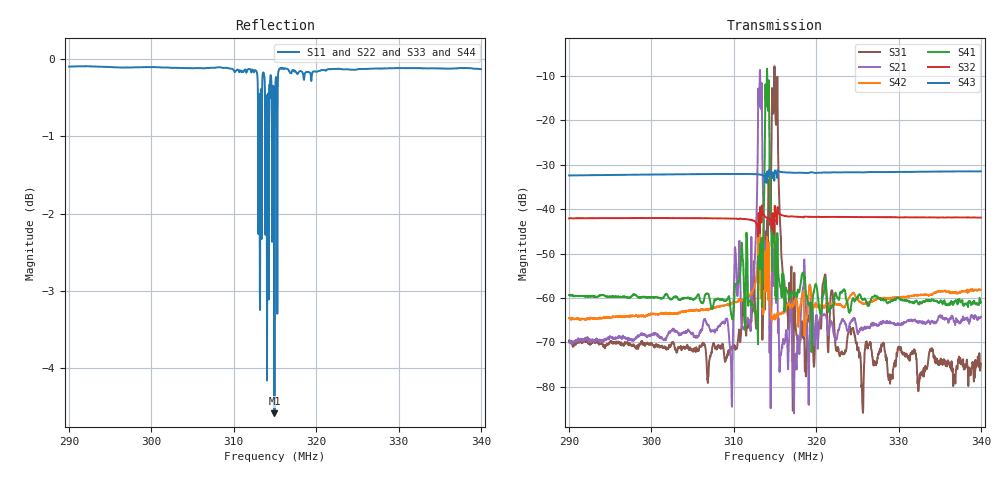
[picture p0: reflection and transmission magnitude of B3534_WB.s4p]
! Matrix data file written by TouchstoneData, EPCOS AG
! FILENAME: "newformat_LZ06B_MB.s4p"
! COMMENT: "(LZ06B_MB.s4p) Epcos AG 31.01.2012 10:37:25"
! INFO: nport=4, nfreq=1601
! DATE: "Tue Jan 31 15:10:04 2012"
! USER: "Wilfried Schott"
! port | pin | signal
!  1  |  1  |  IN
!  2  |  5  |  OUT CH2
!  3  |  6  |  OUT CH1
!  4  |  7  |  OUT CH3
# MHZ S MA R 50
! freq  magS11 angS11  magS12 angS12  magS13 angS13  magS14 angS14  ...
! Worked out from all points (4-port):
!   1601 points, 290 MHz to 340 MHz, reference 50 ohm
!   strongest paths, dB at 290 MHz, 302.5 MHz, 315 MHz, 327.5 MHz, 340 MHz:
!     S43: -32.4, -32.1, -31.3, -31.6, -31.5
!     S32: -42.1, -42.0, -39.7, -41.8, -41.9
!     S41: -59.3, -60.2, -51.7, -60.1, -61.0
!     S42: -64.5, -63.6, -64.9, -60.2, -58.2
!     S21: -70.1, -67.2, -54.0, -66.1, -64.3
!     S31: -69.9, -70.3, -14.7, -72.6, -74.8
!   lowest |S11| = -4.6 dB at 314.9 MHz (marker M1), VSWR 3.87, Z = 77.4 - j86.6 ohm
!   |S11| at or under -10 dB: nowhere
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290  0.9891 -40.0  0.0003271 -123.9  0.0003154 63.9  0.001074 64.1
     0.0003135 -122.7  0.992 -16.5  0.007923 73.2  0.000588 166.1
     0.0003208 64.8  0.007893 73.1  0.9908 -17.1  0.02395 72.9
     0.00108 64.2  0.0005939 166.0  0.02402 72.9  0.9934 -16.6
310.2188  0.9827 -43.7  0.003229 -123.5  0.0002499 12.9  0.001425 80.5
          0.003216 -123.5  0.9888 -18.0  0.007815 72.2  0.0008921 -161.0
          0.0002697 9.4  0.00782 72.2  0.9901 -18.5  0.02494 71.7
          0.001436 80.6  0.0008892 -161.0  0.02493 71.7  0.9925 -18.0
313.1875  0.6879 -31.3  0.3717 -60.1  0.005297 -50.6  0.004093 -76.6
          0.3708 -60.1  0.6636 -1.9  0.01056 102.1  0.004694 132.9
          0.00534 -50.2  0.01058 102.5  0.9893 -19.3  0.02459 70.9
          0.004139 -76.2  0.004745 133.1  0.02462 70.9  0.9926 -19.4
314.0312  0.6192 -46.6  0.003837 -29.9  0.007524 5.1  0.3831 -23.8
          0.003747 -26.2  0.9912 -16.2  0.007953 72.5  0.004748 161.8
          0.007534 5.4  0.007959 72.7  0.9871 -20.4  0.0211 88.0
          0.383 -23.7  0.004858 159.0  0.02114 88.0  0.5802 -22.1
314.9375  0.5896 -38.2  0.00506 -19.3  0.41 -32.0  0.007889 19.6
          0.005178 -19.6  0.9909 -17.2  0.009049 110.7  0.0006462 166.0
          0.4095 -31.9  0.008936 110.0  0.5591 -15.1  0.02255 87.2
          0.00779 20.6  0.0006552 164.8  0.02254 87.0  0.9929 -16.4
317.3125  0.9833 -42.4  5.849e-05 -112.5  0.0007484 -161.3  0.001111 66.2
          5.005e-05 -119.8  0.9888 -17.7  0.008265 72.4  0.0008817 -169.3
          0.000749 -159.2  0.008256 72.6  0.9897 -17.9  0.02578 71.9
          0.001126 66.4  0.0008859 -169.2  0.02579 72.0  0.9925 -17.8
340  0.9853 -46.2  0.0006169 -126.2  0.0001666 62.8  0.0008755 59.8
     0.0006113 -128.2  0.9912 -19.2  0.008028 71.1  0.001216 -148.5
     0.000181 59.0  0.008054 71.1  0.9888 -19.7  0.02677 70.6
     0.000892 59.5  0.001235 -148.9  0.02674 70.5  0.9926 -19.3
